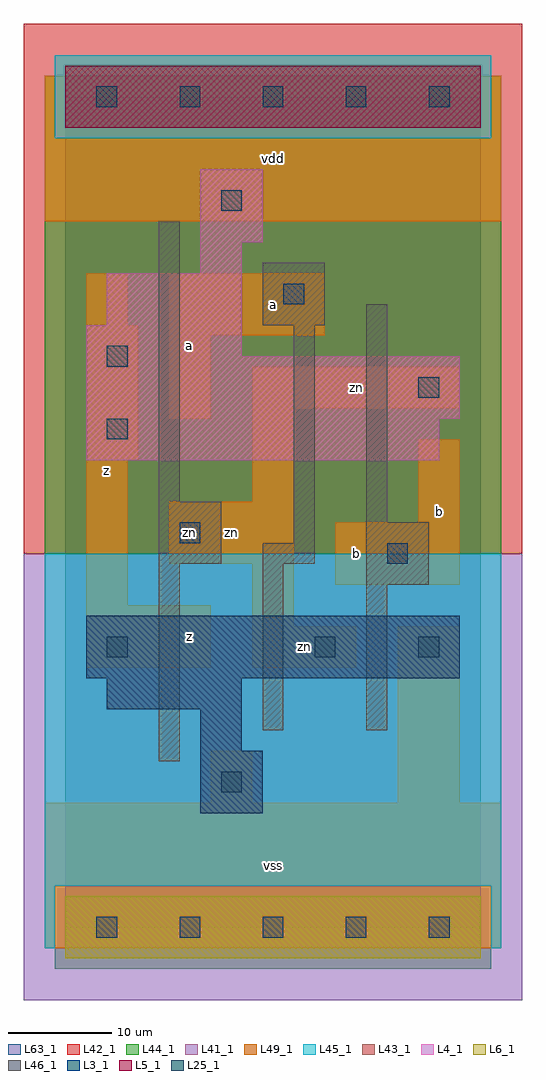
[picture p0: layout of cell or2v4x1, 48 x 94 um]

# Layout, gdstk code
import gdstk
lib = gdstk.Library(unit=1e-6, precision=1e-09)
def R(c, l, rs):  # rectangles x0, y0, x1, y1
    for r in rs: c.add(gdstk.rectangle(r[:2], r[2:], *l))
def A(c, l, x, y, w, h, nx, ny, dx, dy):  # array of equal rectangles
    R(c, l, [(x+i*dx, y+j*dy, x+i*dx+w, y+j*dy+h) for i in range(nx) for j in range(ny)])
L3_1 = (3, 1)
L4_1 = (4, 1)
L5_1 = (5, 1)
L6_1 = (6, 1)
L25_1 = (25, 1)
L41_1 = (41, 1)
L42_1 = (42, 1)
L43_1 = (43, 1)
L44_1 = (44, 1)
L45_1 = (45, 1)
L46_1 = (46, 1)
L49_1 = (49, 1)
L63_1 = (63, 1)

or2v4x1 = lib.new_cell('or2v4x1')
R(or2v4x1, L3_1, [(13,11,19,17), (13,17,17,21), (4,21,17,24), (2,24,38,30)])
R(or2v4x1, L4_1, [(2,45,36,49), (2,49,38,55), (2,55,17,58), (4,58,17,63), (13,63,17,66), (13,66,19,73)])
R(or2v4x1, L5_1, [(0,77,40,83)])
R(or2v4x1, L6_1, [(0,-3,40,3), (0,-3,40,3)])
A(or2v4x1, L25_1, 3, -1, 2, 2, 5, 2, 8, 80)
R(or2v4x1, L25_1, [(15,13,17,15), (4,26,6,28), (24,26,26,28), (34,26,36,28), (31,35,33,37), (11,37,13,39), (4,47,6,49), (34,51,36,53), (4,54,6,56), (21,60,23,62), (15,69,17,71)])
R(or2v4x1, L41_1, [(-4,-7,44,36)])
R(or2v4x1, L42_1, [(-4,36,44,87)])
R(or2v4x1, L43_1, [(0,-3,40,3), (13,11,19,17), (13,17,17,21), (4,21,17,24), (2,24,38,30), (2,45,36,49), (2,49,38,55), (2,55,17,58), (4,58,17,63), (13,63,17,66), (13,66,19,73), (0,77,40,83)])
R(or2v4x1, L44_1, [(-1,-4,41,4), (-2,36,42,76), (-2,76,-1,82), (41,76,42,82)])
R(or2v4x1, L45_1, [(-2,-2,-1,4), (41,-2,42,4), (-2,4,42,36), (-1,76,41,84)])
R(or2v4x1, L46_1, [(9,16,11,35), (19,19,21,35), (29,19,31,33), (29,33,35,39), (9,35,15,41), (19,35,24,37), (22,37,24,58), (29,39,31,60), (9,41,11,68), (19,58,25,64)])
R(or2v4x1, L49_1, [(-2,-2,42,12), (14,12,18,17), (32,12,38,29), (2,25,14,31), (18,25,28,29), (18,29,22,35), (2,31,6,45), (26,33,38,39), (10,35,22,41), (34,39,38,47), (18,41,22,50), (2,45,7,58), (10,49,14,57), (18,50,38,54), (10,57,25,63), (2,58,6,63), (-2,68,42,82)])
R(or2v4x1, L63_1, [(0,0,40,80)])
or2v4x1.add(gdstk.Label('zn', (12,38), layer=49, texttype=1))
or2v4x1.add(gdstk.Label('z', (4,44), layer=49, texttype=1))
or2v4x1.add(gdstk.Label('z', (12,28), layer=49, texttype=1))
or2v4x1.add(gdstk.Label('a', (12,56), layer=49, texttype=1))
or2v4x1.add(gdstk.Label('vss', (20,6), layer=49, texttype=1))
or2v4x1.add(gdstk.Label('zn', (23,27), layer=49, texttype=1))
or2v4x1.add(gdstk.Label('b', (28,36), layer=49, texttype=1))
or2v4x1.add(gdstk.Label('zn', (16,38), layer=49, texttype=1))
or2v4x1.add(gdstk.Label('a', (20,60), layer=49, texttype=1))
or2v4x1.add(gdstk.Label('vdd', (20,74), layer=49, texttype=1))
or2v4x1.add(gdstk.Label('b', (36,40), layer=49, texttype=1))
or2v4x1.add(gdstk.Label('zn', (28,52), layer=49, texttype=1))

lib.write_gds('or2v4x1.gds')
